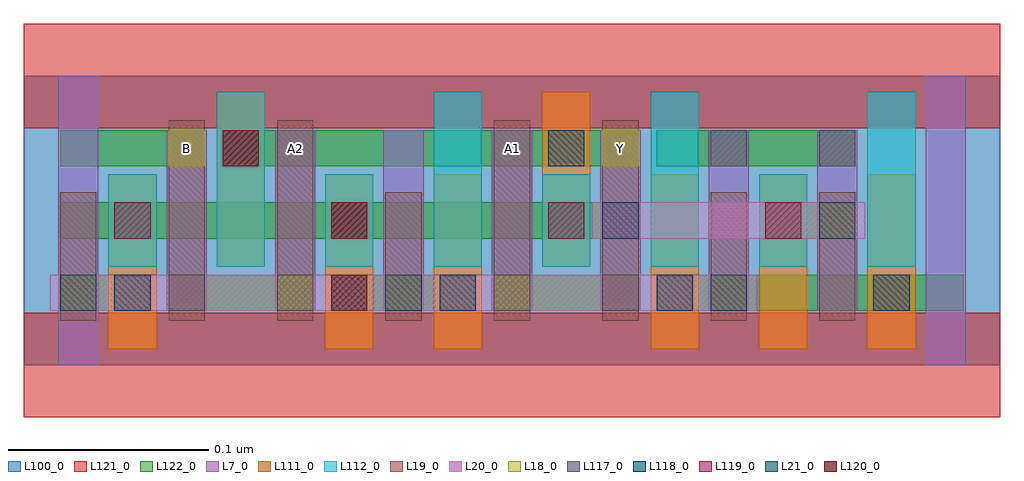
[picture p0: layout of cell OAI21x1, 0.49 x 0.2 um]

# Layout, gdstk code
import gdstk
lib = gdstk.Library(unit=1e-6, precision=2.5e-10)
def R(c, l, rs):  # rectangles x0, y0, x1, y1
    for r in rs: c.add(gdstk.rectangle(r[:2], r[2:], *l))
def A(c, l, x, y, w, h, nx, ny, dx, dy):  # array of equal rectangles
    R(c, l, [(x+i*dx, y+j*dy, x+i*dx+w, y+j*dy+h) for i in range(nx) for j in range(ny)])
L7_0 = (7, 0)
L18_0 = (18, 0)
L19_0 = (19, 0)
L20_0 = (20, 0)
L21_0 = (21, 0)
L100_0 = (100, 0)
L111_0 = (111, 0)
L112_0 = (112, 0)
L117_0 = (117, 0)
L118_0 = (118, 0)
L119_0 = (119, 0)
L120_0 = (120, 0)
L121_0 = (121, 0)
L122_0 = (122, 0)

oai21x1 = lib.new_cell('OAI21x1')
A(oai21x1, L7_0, 0.071, 0.027, 0.02, 0.09, 7, 1, 0.054, 0)
R(oai21x1, L7_0, [(0.017,0,0.037,0.144), (0.449,0,0.469,0.144)])
A(oai21x1, L18_0, 0.126, 0.027, 0.018, 0.018, 3, 1, 0.054, 0)
R(oai21x1, L18_0, [(0.018,0.027,0.036,0.045), (0.342,0.027,0.36,0.045), (0.396,0.063,0.414,0.081), (0.072,0.099,0.09,0.117), (0.288,0.099,0.306,0.117)])
A(oai21x1, L19_0, 0.018, 0.022, 0.018, 0.064, 3, 1, 0.162, 0)
R(oai21x1, L19_0, [(0.072,0.022,0.09,0.122), (0.126,0.022,0.144,0.122), (0.234,0.022,0.252,0.122), (0.288,0.022,0.306,0.122), (0.396,0.022,0.414,0.086)])
R(oai21x1, L20_0, [(0.013,0.027,0.365,0.045), (0.283,0.063,0.419,0.081)])
A(oai21x1, L21_0, 0.018, 0.027, 0.018, 0.018, 3, 1, 0.162, 0)
R(oai21x1, L21_0, [(0.288,0.063,0.306,0.081), (0.396,0.063,0.414,0.081)])
R(oai21x1, L100_0, [(0,0,0.486,0.144)])
A(oai21x1, L111_0, 0.312, 0.008, 0.024, 0.087, 3, 1, 0.054, 0)
R(oai21x1, L111_0, [(0.042,0.008,0.066,0.095), (0.15,0.008,0.174,0.095), (0.204,0.008,0.228,0.095), (0.096,0.049,0.12,0.136), (0.258,0.049,0.282,0.136)])
A(oai21x1, L112_0, 0.042, 0.049, 0.024, 0.046, 4, 1, 0.108, 0)
A(oai21x1, L112_0, 0.096, 0.049, 0.024, 0.087, 4, 1, 0.108, 0)
R(oai21x1, L117_0, [(0.072,0.027,0.09,0.045), (0.126,0.027,0.144,0.045), (0.234,0.027,0.252,0.045), (0.288,0.027,0.306,0.045), (0.342,0.099,0.36,0.117), (0.396,0.099,0.414,0.117)])
A(oai21x1, L118_0, 0.207, 0.027, 0.018, 0.018, 3, 1, 0.108, 0)
R(oai21x1, L118_0, [(0.045,0.027,0.063,0.045), (0.153,0.027,0.171,0.045), (0.261,0.099,0.279,0.117)])
A(oai21x1, L119_0, 0.045, 0.063, 0.018, 0.018, 4, 1, 0.108, 0)
R(oai21x1, L119_0, [(0.099,0.099,0.117,0.117)])
R(oai21x1, L120_0, [(0.153,0.027,0.171,0.045), (0.153,0.063,0.171,0.081), (0.099,0.099,0.117,0.117)])
R(oai21x1, L121_0, [(0,-0.026,0.486,0.026), (0,0.118,0.486,0.17)])
A(oai21x1, L122_0, 0.072, 0.027, 0.072, 0.018, 3, 1, 0.081, 0)
R(oai21x1, L122_0, [(0.018,0.027,0.063,0.045), (0.315,0.027,0.468,0.045), (0.018,0.063,0.306,0.081), (0.369,0.063,0.414,0.081), (0.018,0.099,0.09,0.117), (0.099,0.099,0.306,0.117), (0.315,0.099,0.414,0.117)])
oai21x1.add(gdstk.Label('Y', (0.297,0.108), layer=19, texttype=251))
oai21x1.add(gdstk.Label('B', (0.081,0.108), layer=19, texttype=251))
oai21x1.add(gdstk.Label('A2', (0.135,0.108), layer=19, texttype=251))
oai21x1.add(gdstk.Label('A1', (0.243,0.108), layer=19, texttype=251))

lib.write_gds('OAI21x1.gds')
